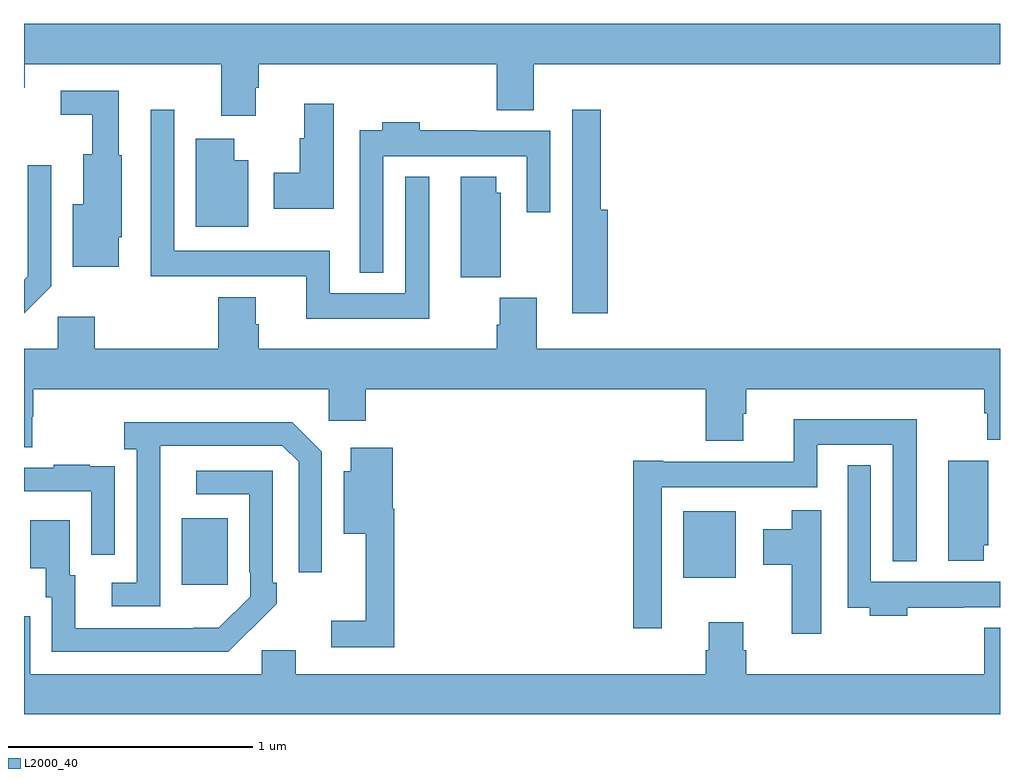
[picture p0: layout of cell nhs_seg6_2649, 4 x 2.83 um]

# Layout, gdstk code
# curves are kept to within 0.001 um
import gdstk
lib = gdstk.Library(unit=1e-6, precision=1e-09)
def R(c, l, rs):  # rectangles x0, y0, x1, y1
    for r in rs: c.add(gdstk.rectangle(r[:2], r[2:], *l))
def P(c, l, *ps):  # polygons
    for p in ps: c.add(gdstk.Polygon(p, *l))
L2000_40 = (2000, 40)

nhs_seg6_2649 = lib.new_cell('nhs_seg6_2649')
R(nhs_seg6_2649, L2000_40, [(267.647,990.489,267.835,990.763), (269.702,990.518,269.917,990.79)])
P(nhs_seg6_2649, L2000_40, [(267.949,992.526),(267.962,992.526),(267.962,992.624),(268.937,992.624),(268.937,992.435),(269.089,992.435),(269.089,992.624),(271,992.624),(271,992.788),(267,992.788),(267,992.526),(267.004,992.526),(267.004,992.624),(267.809,992.624),(267.809,992.412),(267.949,992.412)],
  [(267.388,991.914),(267.4,991.914),(267.4,992.25),(267.388,992.25),(267.388,992.514),(267.15,992.514),(267.15,992.417),(267.279,992.417),(267.279,992.254),(267.242,992.254),(267.242,992.05),(267.2,992.05),(267.2,991.793),(267.388,991.793)],
  [(268.27,992.461),(268.148,992.461),(268.148,992.319),(268.13,992.319),(268.13,992.178),(268.023,992.178),(268.023,992.03),(268.27,992.03)],
  [(268.66,992.161),(268.563,992.161),(268.563,991.684),(268.254,991.684),(268.254,991.858),(267.615,991.858),(267.615,992.437),(267.519,992.437),(267.519,991.754),(268.157,991.754),(268.157,991.58),(268.66,991.58)],
  [(269.393,992.026),(269.363,992.026),(269.363,992.437),(269.247,992.437),(269.247,991.922),(269.246,991.922),(269.246,991.602),(269.393,991.602)],
  [(268.473,992.246),(269.061,992.246),(269.061,992.016),(269.157,992.016),(269.157,992.35),(268.853,992.35),(268.853,992.353),(268.622,992.353),(268.622,992.386),(268.469,992.386),(268.469,992.353),(268.377,992.353),(268.377,991.769),(268.473,991.769)],
  [(267.919,992.23),(267.862,992.23),(267.862,992.317),(267.704,992.317),(267.704,991.958),(267.919,991.958)],
  [(267.111,991.713),(267.111,992.209),(267.015,992.209),(267.015,991.755),(267,991.74),(267,991.602)],
  [(268.954,992.097),(268.936,992.097),(268.936,992.161),(268.79,992.161),(268.79,991.75),(268.954,991.75)],
  [(267.033,991.179),(267.038,991.179),(267.038,991.292),(268.248,991.292),(268.248,991.161),(268.4,991.161),(268.4,991.292),(269.795,991.292),(269.795,991.079),(269.947,991.079),(269.947,991.191),(269.96,991.191),(269.96,991.292),(270.935,991.292),(270.935,991.193),(270.947,991.193),(270.947,991.084),(271,991.084),(271,991.456),(269.102,991.456),(269.102,991.665),(268.949,991.665),(268.949,991.556),(268.937,991.556),(268.937,991.456),(267.962,991.456),(267.962,991.557),(267.949,991.557),(267.949,991.669),(267.797,991.669),(267.797,991.456),(267.29,991.456),(267.29,991.588),(267.138,991.588),(267.138,991.456),(267,991.456),(267,991.054),(267.033,991.054)],
  [(269.613,990.89),(270.252,990.89),(270.252,991.064),(270.561,991.064),(270.561,990.587),(270.658,990.587),(270.658,991.168),(270.155,991.168),(270.155,990.994),(269.62,990.994),(269.62,990.997),(269.497,990.997),(269.497,990.312),(269.613,990.312)],
  [(267.558,990.859),(267.559,991.059),(268.059,991.059),(268.125,990.993),(268.125,990.54),(268.221,990.54),(268.221,991.035),(268.1,991.156),(267.411,991.156),(267.411,991.046),(267.462,991.046),(267.462,990.498),(267.36,990.498),(267.36,990.402),(267.558,990.402)],
  [(268.517,990.802),(268.511,990.802),(268.511,991.051),(268.34,991.051),(268.34,990.955),(268.31,990.955),(268.31,990.698),(268.4,990.698),(268.4,990.343),(268.26,990.343),(268.26,990.234),(268.517,990.234)],
  [(270.934,990.651),(270.952,990.651),(270.952,990.999),(270.788,990.999),(270.788,990.588),(270.934,990.588)],
  [(267.372,990.866),(267.371,990.866),(267.371,990.975),(267.269,990.975),(267.269,990.982),(267.121,990.982),(267.121,990.969),(267,990.969),(267,990.873),(267.276,990.873),(267.276,990.612),(267.372,990.612)],
  [(270.62,990.396),(270.851,990.396),(270.851,990.398),(271,990.398),(271,990.502),(270.471,990.502),(270.471,990.979),(270.375,990.979),(270.375,990.396),(270.467,990.396),(270.467,990.362),(270.62,990.362)],
  [(267.929,990.307),(267.93,990.306),(268.035,990.411),(268.035,990.499),(268.02,990.499),(268.02,990.957),(267.705,990.957),(267.705,990.861),(267.924,990.861),(267.924,990.541),(267.927,990.541),(267.927,990.441),(267.799,990.313),(267.211,990.312),(267.211,990.528),(267.187,990.528),(267.187,990.754),(267.026,990.754),(267.026,990.557),(267.089,990.557),(267.089,990.438),(267.114,990.438),(267.114,990.216),(267.838,990.216)],
  [(270.268,990.796),(270.146,990.796),(270.146,990.718),(270.029,990.718),(270.029,990.571),(270.146,990.571),(270.146,990.288),(270.268,990.288)],
  [(271,990.313),(270.935,990.313),(270.935,990.124),(269.96,990.124),(269.96,990.222),(269.947,990.222),(269.947,990.337),(269.807,990.337),(269.807,990.222),(269.795,990.222),(269.795,990.124),(268.114,990.124),(268.114,990.222),(267.975,990.222),(267.975,990.124),(267.025,990.124),(267.025,990.36),(267,990.36),(267,989.96),(271,989.96)])

lib.write_gds('nhs_seg6_2649.gds')
